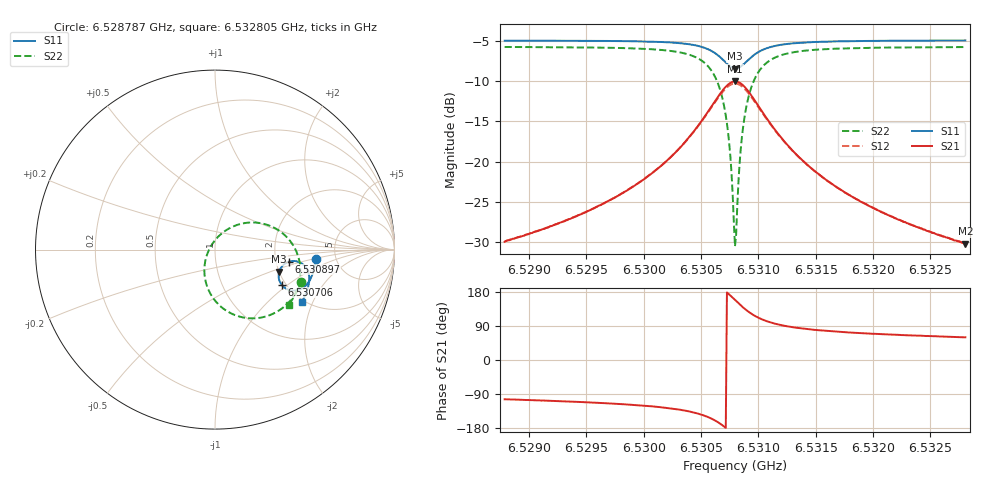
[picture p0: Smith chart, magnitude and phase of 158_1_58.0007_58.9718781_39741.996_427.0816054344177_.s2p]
#  HZ  S  RI  R  50.00
! Rohde & Schwarz Vector Network Analyzer
! Rohde-Schwarz,ZNB20-2Port,1311601062101988,3.16
! Created: UTC 3/21/2024, 12:57:18 AM
! freq[Hz]  re:S11  im:S11  re:S21  im:S21  re:S12  im:S12  re:S22  im:S22
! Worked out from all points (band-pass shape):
!   401 points, 6.528787 GHz to 6.532805 GHz, reference 50 ohm
!   highest |S21| = -10.05 dB at 6.530796 GHz (marker M1); lowest = -30.2 dB at 6.532805 GHz (marker M2)
!   |S21| within 3 dB of the highest: 6.530596 GHz to 6.530998 GHz (401.7 kHz wide, 0.00615 % of centre)
!   lowest |S11| = -8.4 dB at 6.530796 GHz (marker M3), VSWR 2.22, Z = 100 - j28.9 ohm
!   |S11| at or under -10 dB: nowhere
!   |S22| runs from -30.5 to -5.8 dB; largest |S21 - S12| = 0.013
!   S11 on the Smith chart (normalised r, x): 6.528787 GHz: 3.49, -0.53; 6.530706 GHz: 1.90, -0.90; 6.530897 GHz: 2.36, -0.38; 6.532805 GHz: 1.95, -1.66
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6.528787e9  0.5605 -0.052  -0.0075 -0.0309  -0.00811 -0.0309  0.4814 -0.1814
6.5294601e9  0.5513 -0.1086  -0.017 -0.0442  -0.0181 -0.0438  0.4492 -0.2444
6.5301331e9  0.5241 -0.1772  -0.0513 -0.076  -0.0537 -0.0745  0.3652 -0.3334
6.5303642e9  0.4971 -0.2077  -0.092 -0.0961  -0.095 -0.0929  0.2824 -0.3728
6.5305349e9  0.4528 -0.2277  -0.1619 -0.1029  -0.1643 -0.0961  0.1535 -0.3775
6.5306354e9  0.4069 -0.2229  -0.2333 -0.0763  -0.2323 -0.066  0.034 -0.3188
6.5307057e9  0.3708 -0.1951  -0.2859 -0.0165  -0.2799 -0.00576  -0.0431 -0.2079
6.5307459e9  0.3571 -0.1667  -0.3024 0.0379  -0.2929 0.0464  -0.0594 -0.1149
6.5307861e9  0.3554 -0.1324  -0.2976 0.0998  -0.2862 0.1046  -0.0393 -0.0144
6.5307961e9  0.3573 -0.1236  -0.2929 0.1149  -0.281 0.1188  -0.0283 0.00951
6.5308062e9  0.3601 -0.1154  -0.2861 0.1295  -0.2746 0.1325  -0.0147 0.0321
6.5308162e9  0.364 -0.1073  -0.2781 0.1437  -0.2668 0.1453  0.000893 0.0533
6.5308363e9  0.3737 -0.093  -0.2588 0.1682  -0.2481 0.1681  0.0373 0.0899
6.5308564e9  0.3855 -0.0812  -0.236 0.1879  -0.2261 0.1866  0.0786 0.1179
6.5308966e9  0.4129 -0.0669  -0.1861 0.2119  -0.1788 0.2087  0.1654 0.1478
6.5309669e9  0.4572 -0.0659  -0.1087 0.2144  -0.1051 0.2112  0.295 0.1366
6.5310673e9  0.4961 -0.0875  -0.0422 0.1829  -0.0404 0.1812  0.4022 0.0672
6.531218e9  0.519 -0.1236  -0.00196 0.1354  -0.000659 0.1347  0.4609 -0.0302
6.5314692e9  0.5254 -0.1674  0.0154 0.0886  0.0165 0.0883  0.4754 -0.1295
6.5317705e9  0.5202 -0.2038  0.0184 0.0605  0.0195 0.0604  0.4653 -0.1955
6.5321422e9  0.509 -0.2387  0.0178 0.0426  0.0186 0.0423  0.4468 -0.2467
6.5328052e9  0.4848 -0.2896  0.0155 0.0268  0.0162 0.0265  0.4125 -0.3065
